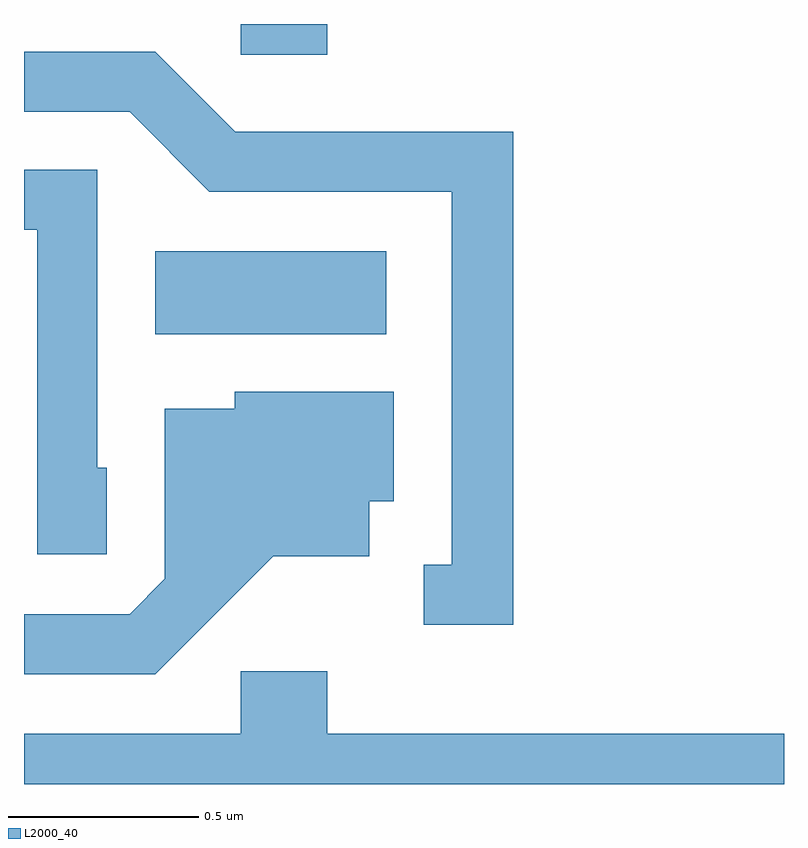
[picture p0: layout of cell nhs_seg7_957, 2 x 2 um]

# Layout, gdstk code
import gdstk
lib = gdstk.Library(unit=1e-6, precision=1e-09)
def R(c, l, rs):  # rectangles x0, y0, x1, y1
    for r in rs: c.add(gdstk.rectangle(r[:2], r[2:], *l))
def P(c, l, *ps):  # polygons
    for p in ps: c.add(gdstk.Polygon(p, *l))
L2000_40 = (2000, 40)

nhs_seg7_957 = lib.new_cell('nhs_seg7_957')
R(nhs_seg7_957, L2000_40, [(191.956,1804.436,192.564,1804.654), (192.181,1805.171,192.409,1805.252)])
P(nhs_seg7_957, L2000_40, [(192.899,1804.969),(192.167,1804.969),(191.957,1805.179),(191.611,1805.179),(191.611,1805.021),(191.889,1805.021),(192.099,1804.811),(192.736,1804.811),(192.736,1803.829),(192.663,1803.829),(192.663,1803.671),(192.899,1803.671)],
  [(191.829,1804.084),(191.804,1804.084),(191.804,1804.869),(191.611,1804.869),(191.611,1804.711),(191.646,1804.711),(191.646,1803.856),(191.829,1803.856)],
  [(192.267,1803.851),(192.519,1803.851),(192.519,1803.996),(192.584,1803.996),(192.584,1804.284),(192.166,1804.284),(192.166,1804.239),(191.981,1804.239),(191.981,1803.792),(191.889,1803.699),(191.611,1803.699),(191.611,1803.541),(191.957,1803.541)],
  [(193.611,1803.384),(192.409,1803.384),(192.409,1803.549),(192.181,1803.549),(192.181,1803.384),(191.611,1803.384),(191.611,1803.252),(193.611,1803.252)])

lib.write_gds('nhs_seg7_957.gds')
